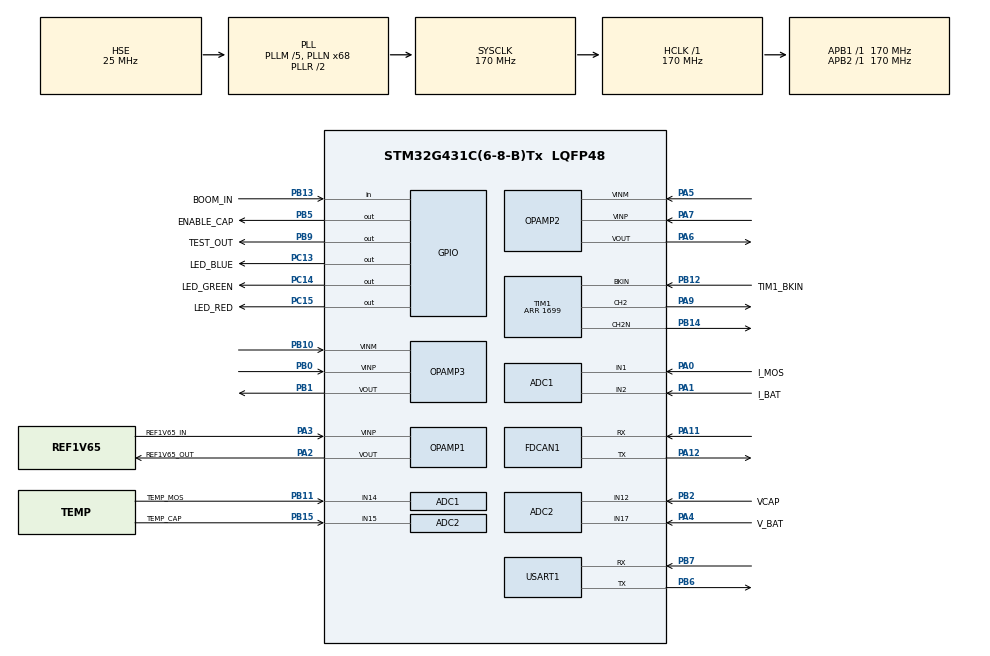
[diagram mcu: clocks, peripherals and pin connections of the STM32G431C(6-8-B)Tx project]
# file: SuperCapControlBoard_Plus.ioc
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ADC1.Channel-10\#ChannelRegularConversion=ADC_CHANNEL_14
ADC1.ClockPrescaler=ADC_CLOCK_ASYNC_DIV1
ADC1.ContinuousConvMode=DISABLE
ADC1.DMAContinuousRequests=ENABLE
ADC1.EOCSelection=ADC_EOC_SEQ_CONV
ADC1.EnableInjectedConversion=ENABLE
ADC1.EnableRegularConversion=ENABLE
ADC1.ExternalTrigConv=ADC_SOFTWARE_START
ADC1.ExternalTrigInjecConv=ADC_EXTERNALTRIGINJEC_T1_TRGO
ADC1.ExternalTrigInjecConvEdge=ADC_EXTERNALTRIGINJECCONV_EDGE_FALLING
ADC1.InjNumberOfConversion=2
ADC1.InjectedChannel-7\#ChannelInjectedConversion=ADC_CHANNEL_2
ADC1.InjectedChannel-9\#ChannelInjectedConversion=ADC_CHANNEL_1
ADC1.InjectedOffsetNumber-7\#ChannelInjectedConversion=ADC_OFFSET_NONE
ADC1.InjectedOffsetNumber-9\#ChannelInjectedConversion=ADC_OFFSET_NONE
ADC1.InjectedRank-7\#ChannelInjectedConversion=1
ADC1.InjectedRank-9\#ChannelInjectedConversion=2
ADC1.InjectedSamplingTime-7\#ChannelInjectedConversion=ADC_SAMPLETIME_12CYCLES_5
ADC1.InjectedSamplingTime-9\#ChannelInjectedConversion=ADC_SAMPLETIME_12CYCLES_5
ADC1.Mode=ADC_MODE_INDEPENDENT
ADC1.NbrOfConversion=1
ADC1.NbrOfConversionFlag=1
ADC1.OffsetNumber-10\#ChannelRegularConversion=ADC_OFFSET_NONE
ADC1.Overrun=ADC_OVR_DATA_OVERWRITTEN
ADC1.OversamplingMode=DISABLE
ADC1.Rank-10\#ChannelRegularConversion=1
ADC1.Rank1_Channel=ADC_CHANNEL_2
ADC1.Rank2_Channel=ADC_CHANNEL_1
ADC1.SamplingTime-10\#ChannelRegularConversion=ADC_SAMPLETIME_247CYCLES_5
ADC1.injectedQueueMode=ENABLE
ADC1.master=1
ADC2.Channel-8\#ChannelRegularConversion=ADC_CHANNEL_15
ADC2.ClockPrescaler=ADC_CLOCK_ASYNC_DIV1
ADC2.ContinuousConvMode=DISABLE
ADC2.DMAContinuousRequests=ENABLE
ADC2.EOCSelection=ADC_EOC_SEQ_CONV
ADC2.EnableInjectedConversion=ENABLE
ADC2.EnableRegularConversion=ENABLE
ADC2.ExternalTrigInjecConv=ADC_EXTERNALTRIGINJEC_T1_TRGO
ADC2.ExternalTrigInjecConvEdge=ADC_EXTERNALTRIGINJECCONV_EDGE_FALLING
ADC2.InjNumberOfConversion=2
ADC2.InjectedChannel-6\#ChannelInjectedConversion=ADC_CHANNEL_17
ADC2.InjectedChannel-7\#ChannelInjectedConversion=ADC_CHANNEL_12
ADC2.InjectedConvMode=None
ADC2.InjectedOffsetNumber-6\#ChannelInjectedConversion=ADC_OFFSET_NONE
ADC2.InjectedOffsetNumber-7\#ChannelInjectedConversion=ADC_OFFSET_NONE
ADC2.InjectedRank-6\#ChannelInjectedConversion=1
ADC2.InjectedRank-7\#ChannelInjectedConversion=2
ADC2.InjectedSamplingTime-6\#ChannelInjectedConversion=ADC_SAMPLETIME_12CYCLES_5
ADC2.InjectedSamplingTime-7\#ChannelInjectedConversion=ADC_SAMPLETIME_12CYCLES_5
ADC2.NbrOfConversionFlag=1
ADC2.OffsetNumber-8\#ChannelRegularConversion=ADC_OFFSET_NONE
ADC2.Overrun=ADC_OVR_DATA_OVERWRITTEN
ADC2.Rank-8\#ChannelRegularConversion=1
ADC2.Rank1_Channel=ADC_CHANNEL_17
ADC2.Rank2_Channel=ADC_CHANNEL_12
ADC2.SamplingTime-8\#ChannelRegularConversion=ADC_SAMPLETIME_247CYCLES_5
ADC2.injectedQueueMode=ENABLE
Dma.ADC1.0.Direction=DMA_PERIPH_TO_MEMORY
Dma.ADC1.0.EventEnable=DISABLE
Dma.ADC1.0.Instance=DMA1_Channel1
Dma.ADC1.0.MemDataAlignment=DMA_MDATAALIGN_HALFWORD
Dma.ADC1.0.MemInc=DMA_MINC_ENABLE
Dma.ADC1.0.Mode=DMA_CIRCULAR
Dma.ADC1.0.PeriphDataAlignment=DMA_PDATAALIGN_HALFWORD
Dma.ADC1.0.PeriphInc=DMA_PINC_DISABLE
Dma.ADC1.0.Polarity=HAL_DMAMUX_REQ_GEN_RISING
Dma.ADC1.0.Priority=DMA_PRIORITY_HIGH
Dma.ADC1.0.RequestNumber=1
Dma.ADC1.0.SignalID=NONE
Dma.ADC1.0.SyncEnable=DISABLE
Dma.ADC1.0.SyncPolarity=HAL_DMAMUX_SYNC_NO_EVENT
Dma.ADC1.0.SyncRequestNumber=1
Dma.ADC1.0.SyncSignalID=NONE
Dma.ADC2.1.Direction=DMA_PERIPH_TO_MEMORY
Dma.ADC2.1.EventEnable=DISABLE
Dma.ADC2.1.Instance=DMA1_Channel2
Dma.ADC2.1.MemDataAlignment=DMA_MDATAALIGN_HALFWORD
Dma.ADC2.1.MemInc=DMA_MINC_ENABLE
Dma.ADC2.1.Mode=DMA_CIRCULAR
Dma.ADC2.1.PeriphDataAlignment=DMA_PDATAALIGN_HALFWORD
Dma.ADC2.1.PeriphInc=DMA_PINC_DISABLE
Dma.ADC2.1.Polarity=HAL_DMAMUX_REQ_GEN_RISING
Dma.ADC2.1.Priority=DMA_PRIORITY_HIGH
Dma.ADC2.1.RequestNumber=1
Dma.ADC2.1.SignalID=NONE
Dma.ADC2.1.SyncEnable=DISABLE
Dma.ADC2.1.SyncPolarity=HAL_DMAMUX_SYNC_NO_EVENT
Dma.ADC2.1.SyncRequestNumber=1
Dma.ADC2.1.SyncSignalID=NONE
Dma.Request0=ADC1
Dma.Request1=ADC2
FDCAN1.CalculateBaudRateNominal=999999
FDCAN1.CalculateTimeBitNominal=1000
FDCAN1.CalculateTimeQuantumNominal=58.82352941176471
FDCAN1.NominalPrescaler=10
FDCAN1.NominalTimeSeg1=12
FDCAN1.NominalTimeSeg2=4
FDCAN1.StdFiltersNbr=1
IWDG.Prescaler=IWDG_PRESCALER_32
IWDG.Reload=100
IWDG.Window=4095
Mcu.Family=STM32G4
Mcu.Name=STM32G431C(6-8-B)Tx
Mcu.Package=LQFP48
NVIC.ADC1_2_IRQn=true\:0\:0\:false\:false\:true\:true\:true\:true
NVIC.FDCAN1_IT0_IRQn=true\:1\:0\:true\:false\:true\:true\:true\:true
NVIC.PriorityGroup=NVIC_PRIORITYGROUP_4
PA0.GPIO_Label=I_MOS
PA0.Mode=IN1-Single-Ended
PA0.Signal=ADC1_IN1
PA1.GPIO_Label=I_BAT
PA1.Mode=IN2-Single-Ended
PA1.Signal=ADC1_IN2
PA11.Mode=FDCAN_Activate
PA11.Signal=FDCAN1_RX
PA12.Mode=FDCAN_Activate
PA12.Signal=FDCAN1_TX
PA13.Mode=Serial_Wire
PA13.Signal=SYS_JTMS-SWDIO
PA14.Mode=Serial_Wire
PA14.Signal=SYS_JTCK-SWCLK
PA2.GPIO_Label=REF1V65_OUT
PA2.Mode=Follower
PA2.Signal=OPAMP1_VOUT
PA3.GPIO_Label=REF1V65_IN
PA3.Mode=Follower
PA3.Signal=OPAMP1_VINP
PA4.GPIO_Label=V_BAT
PA4.Mode=IN17-Single-Ended
PA4.Signal=ADC2_IN17
PA5.Mode=Standalone
PA5.Signal=OPAMP2_VINM
PA6.Mode=Standalone
PA6.Signal=OPAMP2_VOUT
PA7.Mode=Standalone
PA7.Signal=OPAMP2_VINP
PA9.Signal=S_TIM1_CH2
PB0.Mode=Standalone
PB0.Signal=OPAMP3_VINP
PB1.Mode=Standalone
PB1.Signal=OPAMP3_VOUT
PB10.Mode=Standalone
PB10.Signal=OPAMP3_VINM
PB11.GPIO_Label=TEMP_MOS
PB11.Mode=IN14-Single-Ended
PB11.Signal=ADC1_IN14
PB12.GPIO_Label=TIM1_BKIN
PB12.GPIO_PuPd=GPIO_PULLDOWN
PB12.Mode=Activate-Break-Input
PB12.Signal=TIM1_BKIN
PB13.GPIO_Label=BOOM_IN
PB13.Signal=GPIO_Input
PB14.Mode=PWM Generation2 CH2 CH2N
PB14.Signal=TIM1_CH2N
PB15.GPIO_Label=TEMP_CAP
PB15.Mode=IN15-Single-Ended
PB15.Signal=ADC2_IN15
PB2.GPIO_Label=VCAP
PB2.Mode=IN12-Single-Ended
PB2.Signal=ADC2_IN12
PB5.GPIO_Label=ENABLE_CAP
PB5.GPIO_PuPd=GPIO_PULLDOWN
PB5.Signal=GPIO_Output
PB6.Mode=Asynchronous
PB6.Signal=USART1_TX
PB7.Mode=Asynchronous
PB7.Signal=USART1_RX
PB9.GPIO_Label=TEST_OUT
PB9.Signal=GPIO_Output
PC13.GPIO_Label=LED_BLUE
PC13.Signal=GPIO_Output
PC14-OSC32_IN.GPIO_Label=LED_GREEN
PC14-OSC32_IN.Signal=GPIO_Output
PC15-OSC32_OUT.GPIO_Label=LED_RED
PC15-OSC32_OUT.Signal=GPIO_Output
PF0-OSC_IN.Mode=HSE-External-Oscillator
PF0-OSC_IN.Signal=RCC_OSC_IN
PF1-OSC_OUT.Mode=HSE-External-Oscillator
PF1-OSC_OUT.Signal=RCC_OSC_OUT
ProjectManager.HeapSize=0x200
ProjectManager.StackSize=0x400
ProjectManager.TargetToolchain=Makefile
RCC.ADC12CLockSelection=RCC_ADC12CLKSOURCE_PLL
RCC.ADC12Freq_Value=42500000
RCC.AHBFreq_Value=170000000
RCC.APB1Freq_Value=170000000
RCC.APB1TimFreq_Value=170000000
RCC.APB2Freq_Value=170000000
RCC.APB2TimFreq_Value=170000000
RCC.CortexFreq_Value=170000000
RCC.EXTERNAL_CLOCK_VALUE=12288000
RCC.FDCANCLockSelection=RCC_FDCANCLKSOURCE_PLL
RCC.HCLKFreq_Value=170000000
RCC.HSE_VALUE=25000000
RCC.HSI48_VALUE=48000000
RCC.HSI_VALUE=16000000
RCC.LSE_VALUE=32768
RCC.PLLM=RCC_PLLM_DIV5
RCC.PLLN=68
RCC.PLLP=RCC_PLLP_DIV8
RCC.PLLSourceVirtual=RCC_PLLSOURCE_HSE
RCC.SYSCLKFreq_VALUE=170000000
RCC.SYSCLKSource=RCC_SYSCLKSOURCE_PLLCLK
RCC.USBFreq_Value=170000000
RCC.VCOOutputFreq_Value=340000000
SH.S_TIM1_CH2.0=TIM1_CH2,PWM Generation2 CH2 CH2N
SYS.VoltageScaling=SYSCFG_VREFBUF_VOLTAGE_SCALE1
TIM1.AsymmetricalDeadTime=DISABLE
TIM1.AutoReloadPreload=TIM_AUTORELOAD_PRELOAD_ENABLE
TIM1.AutomaticOutput=TIM_AUTOMATICOUTPUT_ENABLE
TIM1.Break2State=TIM_BREAK2_DISABLE
TIM1.Channel-PWM\ Generation1\ No\ Output=TIM_CHANNEL_1
TIM1.Channel-PWM\ Generation2\ CH2\ CH2N=TIM_CHANNEL_2
TIM1.DeadTime=30
TIM1.DeadTimePreload=ENABLE
TIM1.Dithering=Enable
TIM1.FallingDeadTime=25
TIM1.Fractionnal_PulseDither_1=0
TIM1.Fractionnal_PulseDither_2=0
TIM1.Integer_PeriodDither=1699
TIM1.Integer_PulseDither_1=1
TIM1.Integer_PulseDither_2=0
TIM1.OCMode_PWM-PWM\ Generation2\ CH2\ CH2N=TIM_OCMODE_PWM2
TIM1.OffStateIDLEMode=TIM_OSSI_ENABLE
TIM1.PeriodNoDither=1699
TIM1.PulseNoDither_1=300
TIM1.PulseNoDither_2=800
TIM1.SourceBRKDigInputPolarity=TIM_BREAKINPUTSOURCE_POLARITY_LOW
TIM1.TIM_MasterOutputTrigger=TIM_TRGO_OC1REF
TIM1.TIM_MasterOutputTrigger2=TIM_TRGO2_RESET
USART1.SwapParam=ADVFEATURE_SWAP_ENABLE
USART1.VirtualMode-Asynchronous=VM_ASYNC
VP_IWDG_VS_IWDG.Mode=IWDG_Activate
VP_SYS_VS_DBSignals.Mode=DisableDeadBatterySignals
VP_TIM1_VS_no_output1.Mode=PWM Generation1 No Output
VREF+.Mode=InternalMode
VREF+.Signal=VREFBUF_OUT
board=custom

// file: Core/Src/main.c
/* USER CODE BEGIN Header */
/**
  ******************************************************************************
  * @file           : main.c
  * @brief          : Main program body
  ******************************************************************************
  * @attention
  *
  * Copyright (c) 2025 STMicroelectronics.
  * All rights reserved.
  *
  * This software is licensed under terms that can be found in the LICENSE file
  * in the root directory of this software component.
  * If no LICENSE file comes with this software, it is provided AS-IS.
  *
  ******************************************************************************
  */
/* USER CODE END Header */
#include "main.h"
#include "adc.h"
#include "dma.h"
#include "fdcan.h"
#include "iwdg.h"
#include "opamp.h"
#include "tim.h"
#include "usart.h"
#include "gpio.h"

void SystemClock_Config(void);

/* USER CODE BEGIN 0 */

uint32_t ADCValue[2] = {0};

/* USER CODE END 0 */

int main(void)
{

  /* MCU Configuration--------------------------------------------------------*/

  /* Reset of all peripherals, Initializes the Flash interface and the Systick. */
  HAL_Init();

  /* Configure the system clock */
  SystemClock_Config();

  /* Initialize all configured peripherals */
  MX_GPIO_Init();
  MX_DMA_Init();
  MX_ADC1_Init();
  MX_ADC2_Init();
  MX_FDCAN1_Init();
  MX_TIM1_Init();
  MX_OPAMP1_Init();
  MX_OPAMP2_Init();
  MX_OPAMP3_Init();
  MX_USART1_UART_Init();
  MX_IWDG_Init();
  /* USER CODE BEGIN 2 */

  TEST_OUT_HIGH;
#ifdef PLUS

  //电源环路参数初始化
  Power_Loop_Parameter_Init();

  // 根据96位UID获取对应的ADC校准参数
  ADC_Curve_Fitting();

  // 环路保护参数初始化
  Protection_Init();

  //运放自校准
  HAL_OPAMP_SelfCalibrate(&hopamp1);
  HAL_Delay(1);

  HAL_IWDG_Refresh(&hiwdg);//因为运放自校准需要30ms，为了避免看门狗复位，所以需要进行喂狗
  HAL_OPAMP_SelfCalibrate(&hopamp2);
  HAL_Delay(1);

  HAL_IWDG_Refresh(&hiwdg);//因为运放自校准需要30ms，为了避免看门狗复位，所以需要进行喂狗
  HAL_OPAMP_SelfCalibrate(&hopamp3);
  HAL_Delay(1);

  HAL_IWDG_Refresh(&hiwdg);//因为运放自校准需要30ms，为了避免看门狗复位，所以需要进行喂狗

  //启动运放
  HAL_OPAMP_Start(&hopamp1);
  HAL_OPAMP_Start(&hopamp2);
  HAL_OPAMP_Start(&hopamp3);

  //ADC自校准
  HAL_ADCEx_Calibration_Start(&hadc1,ADC_SINGLE_ENDED);
  HAL_Delay(1);
  HAL_ADCEx_Calibration_Start(&hadc2,ADC_SINGLE_ENDED);
  HAL_Delay(1);
  HAL_ADCEx_InjectedStart_IT(&hadc1);
  HAL_ADCEx_InjectedStart(&hadc2);
  //FDCAN过滤器初始化
  FDCAN_Filter_Init();

  //开启FDCAN
  HAL_FDCAN_Start(&hfdcan1);

  //半桥PWM的定时器启动
  HAL_TIM_PWM_Start(&htim1,TIM_CHANNEL_2);
  HAL_TIMEx_PWMN_Start(&htim1,TIM_CHANNEL_2);
  //开启FDCAN中断
  HAL_FDCAN_ActivateNotification(&hfdcan1,FDCAN_IT_RX_FIFO0_NEW_MESSAGE,0);
  //ADC触发的定时器通道，当开启这个定时器通道时，ADC将会开始触发，DMA中断开始生效，为了保证中断不会打断初始化，必须最后开启。
  HAL_TIM_PWM_Start(&htim1,TIM_CHANNEL_1);

#endif

  /* USER CODE END 2 */

  /* Infinite loop */
  /* USER CODE BEGIN WHILE */
  while (1)
  {
    Free_Loop();
    /* USER CODE END WHILE */

  }
}

void SystemClock_Config(void)
{
  RCC_OscInitTypeDef RCC_OscInitStruct = {0};
  RCC_ClkInitTypeDef RCC_ClkInitStruct = {0};

  /** Configure the main internal regulator output voltage
  */
  HAL_PWREx_ControlVoltageScaling(PWR_REGULATOR_VOLTAGE_SCALE1_BOOST);

  /** Initializes the RCC Oscillators according to the specified parameters
  * in the RCC_OscInitTypeDef structure.
  */
  RCC_OscInitStruct.OscillatorType = RCC_OSCILLATORTYPE_LSI|RCC_OSCILLATORTYPE_HSE;
  RCC_OscInitStruct.HSEState = RCC_HSE_ON;
  RCC_OscInitStruct.LSIState = RCC_LSI_ON;
  RCC_OscInitStruct.PLL.PLLState = RCC_PLL_ON;
  RCC_OscInitStruct.PLL.PLLSource = RCC_PLLSOURCE_HSE;
  RCC_OscInitStruct.PLL.PLLM = RCC_PLLM_DIV5;
  RCC_OscInitStruct.PLL.PLLN = 68;
  RCC_OscInitStruct.PLL.PLLP = RCC_PLLP_DIV8;
  RCC_OscInitStruct.PLL.PLLQ = RCC_PLLQ_DIV2;
  RCC_OscInitStruct.PLL.PLLR = RCC_PLLR_DIV2;
  if (HAL_RCC_OscConfig(&RCC_OscInitStruct) != HAL_OK)
  {
    Error_Handler();
  }

  /** Initializes the CPU, AHB and APB buses clocks
  */
  RCC_ClkInitStruct.ClockType = RCC_CLOCKTYPE_HCLK|RCC_CLOCKTYPE_SYSCLK
                              |RCC_CLOCKTYPE_PCLK1|RCC_CLOCKTYPE_PCLK2;
  RCC_ClkInitStruct.SYSCLKSource = RCC_SYSCLKSOURCE_PLLCLK;
  RCC_ClkInitStruct.AHBCLKDivider = RCC_SYSCLK_DIV1;
  RCC_ClkInitStruct.APB1CLKDivider = RCC_HCLK_DIV1;
  RCC_ClkInitStruct.APB2CLKDivider = RCC_HCLK_DIV1;

  if (HAL_RCC_ClockConfig(&RCC_ClkInitStruct, FLASH_LATENCY_4) != HAL_OK)
  {
    Error_Handler();
  }
}

void Error_Handler(void)
{
  __disable_irq();
  while (1)
  {
  }
}
